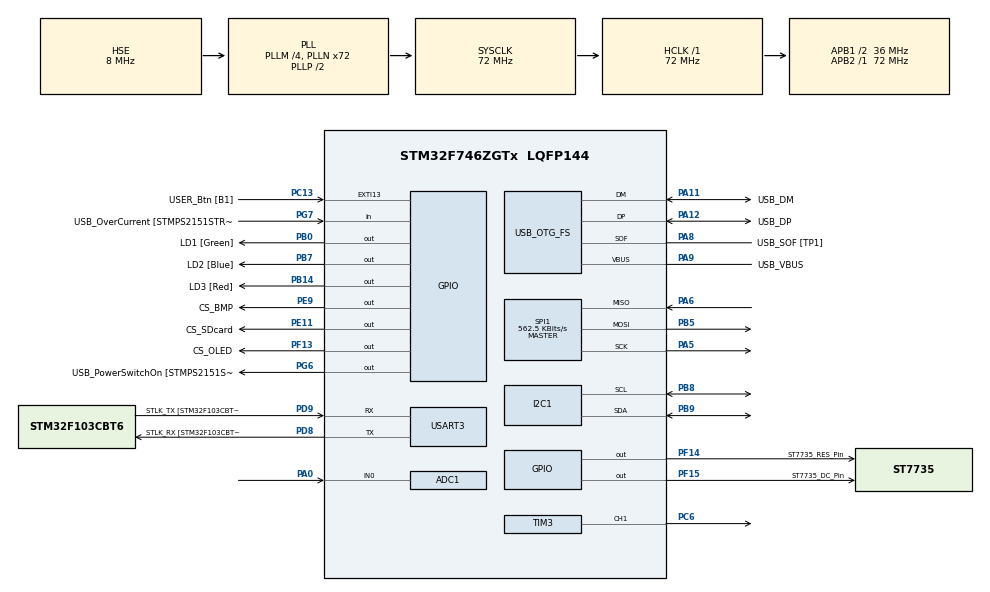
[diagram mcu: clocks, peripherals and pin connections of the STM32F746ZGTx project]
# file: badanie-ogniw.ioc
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ADC1.Channel-0\#ChannelRegularConversion=ADC_CHANNEL_0
ADC1.NbrOfConversionFlag=1
ADC1.Rank-0\#ChannelRegularConversion=1
ADC1.SamplingTime-0\#ChannelRegularConversion=ADC_SAMPLETIME_3CYCLES
ADC1.master=1
FATFS._MAX_SS=4096
FATFS._MIN_SS=512
FATFS._USE_LFN=1
I2C1.Timing=0x00808CD2
Mcu.Family=STM32F7
Mcu.Name=STM32F746ZGTx
Mcu.Package=LQFP144
NVIC.PriorityGroup=NVIC_PRIORITYGROUP_4
NVIC.TIM7_IRQn=true\:0\:0\:false\:false\:true\:true\:true\:true
PA0/WKUP.Signal=ADCx_IN0
PA1.GPIO_Label=RMII_REF_CLK [LAN8742A-CZ-TR_REFCLK0]
PA1.Signal=ETH_REF_CLK
PA10.GPIO_Label=USB_ID
PA10.Signal=USB_OTG_FS_ID
PA11.GPIO_Label=USB_DM
PA11.Mode=Device_Only
PA11.Signal=USB_OTG_FS_DM
PA12.GPIO_Label=USB_DP
PA12.Mode=Device_Only
PA12.Signal=USB_OTG_FS_DP
PA13.GPIO_Label=TMS
PA13.Mode=Serial_Wire
PA13.Signal=SYS_JTMS-SWDIO
PA14.GPIO_Label=TCK
PA14.Mode=Serial_Wire
PA14.Signal=SYS_JTCK-SWCLK
PA2.GPIO_Label=RMII_MDIO [LAN8742A-CZ-TR_MDIO]
PA2.Signal=ETH_MDIO
PA5.Mode=Full_Duplex_Master
PA5.Signal=SPI1_SCK
PA6.Mode=Full_Duplex_Master
PA6.Signal=SPI1_MISO
PA7.GPIO_Label=RMII_CRS_DV [LAN8742A-CZ-TR_CRS_DV]
PA7.Signal=ETH_CRS_DV
PA8.GPIO_Label=USB_SOF [TP1]
PA8.Mode=Activate_SOF_FS
PA8.Signal=USB_OTG_FS_SOF
PA9.GPIO_Label=USB_VBUS
PA9.Mode=Activate_VBUS
PA9.Signal=USB_OTG_FS_VBUS
PB0.GPIO_Label=LD1 [Green]
PB0.Signal=GPIO_Output
PB13.GPIO_Label=RMII_TXD1 [LAN8742A-CZ-TR_TXD1]
PB13.Signal=ETH_TXD1
PB14.GPIO_Label=LD3 [Red]
PB14.Signal=GPIO_Output
PB3.GPIO_Label=SW0
PB3.Signal=SYS_JTDO-SWO
PB5.Mode=Full_Duplex_Master
PB5.Signal=SPI1_MOSI
PB7.GPIO_Label=LD2 [Blue]
PB7.Signal=GPIO_Output
PB8.Mode=I2C
PB8.Signal=I2C1_SCL
PB9.Mode=I2C
PB9.Signal=I2C1_SDA
PC1.GPIO_Label=RMII_MDC [LAN8742A-CZ-TR_MDC]
PC1.Signal=ETH_MDC
PC13.GPIO_Label=USER_Btn [B1]
PC13.Signal=GPXTI13
PC14/OSC32_IN.Mode=LSE-External-Oscillator
PC14/OSC32_IN.Signal=RCC_OSC32_IN
PC15/OSC32_OUT.Mode=LSE-External-Oscillator
PC15/OSC32_OUT.Signal=RCC_OSC32_OUT
PC4.GPIO_Label=RMII_RXD0 [LAN8742A-CZ-TR_RXD0]
PC4.Signal=ETH_RXD0
PC5.GPIO_Label=RMII_RXD1 [LAN8742A-CZ-TR_RXD1]
PC5.Signal=ETH_RXD1
PC6.Signal=S_TIM3_CH1
PD8.GPIO_Label=STLK_RX [STM32F103CBT6_PA3]
PD8.GPIO_PuPd=GPIO_PULLUP
PD8.Mode=Asynchronous
PD8.Signal=USART3_TX
PD9.GPIO_Label=STLK_TX [STM32F103CBT6_PA2]
PD9.GPIO_PuPd=GPIO_PULLUP
PD9.Mode=Asynchronous
PD9.Signal=USART3_RX
PE11.GPIO_Label=CS_SDcard
PE11.Signal=GPIO_Output
PE9.GPIO_Label=CS_BMP
PE9.Signal=GPIO_Output
PF13.GPIO_Label=CS_OLED
PF13.Signal=GPIO_Output
PF14.GPIO_Label=ST7735_RES_Pin
PF14.Signal=GPIO_Output
PF15.GPIO_Label=ST7735_DC_Pin
PF15.Signal=GPIO_Output
PG11.GPIO_Label=RMII_TX_EN [LAN8742A-CZ-TR_TXEN]
PG11.Signal=ETH_TX_EN
PG13.GPIO_Label=RMII_TXD0 [LAN8742A-CZ-TR_TXD0]
PG13.Signal=ETH_TXD0
PG6.GPIO_Label=USB_PowerSwitchOn [STMPS2151STR_EN]
PG6.Signal=GPIO_Output
PG7.GPIO_Label=USB_OverCurrent [STMPS2151STR_FAULT]
PG7.Signal=GPIO_Input
PH0/OSC_IN.GPIO_Label=MCO [STM32F103CBT6_PA8]
PH0/OSC_IN.Mode=HSE-External-Oscillator
PH0/OSC_IN.Signal=RCC_OSC_IN
PH1/OSC_OUT.Mode=HSE-External-Oscillator
PH1/OSC_OUT.Signal=RCC_OSC_OUT
ProjectManager.HeapSize=0x200
ProjectManager.StackSize=0x400
ProjectManager.TargetToolchain=STM32CubeIDE
RCC.48MHZClocksFreq_Value=24000000
RCC.AHBFreq_Value=72000000
RCC.APB1CLKDivider=RCC_HCLK_DIV2
RCC.APB1Freq_Value=36000000
RCC.APB1TimFreq_Value=72000000
RCC.APB2Freq_Value=72000000
RCC.APB2TimFreq_Value=72000000
RCC.CortexFreq_Value=72000000
RCC.HCLKFreq_Value=72000000
RCC.HSE_VALUE=8000000
RCC.HSI_VALUE=16000000
RCC.PLLM=4
RCC.PLLMUL=RCC_PLL_MUL9
RCC.PLLN=72
RCC.PLLQ=3
RCC.PRESCALERUSB=RCC_USBCLKSOURCE_PLL_DIV1_5
RCC.SYSCLKFreq_VALUE=72000000
RCC.SYSCLKSource=RCC_SYSCLKSOURCE_PLLCLK
RCC.SYSCLKSourceVirtual=RCC_SYSCLKSOURCE_PLLCLK
RCC.USBFreq_Value=48000000
RCC.VCOOutputFreq_Value=144000000
SH.ADCx_IN0.0=ADC1_IN0,IN0
SH.S_TIM3_CH1.0=TIM3_CH1,PWM Generation1 CH1
SPI1.BaudRatePrescaler=SPI_BAUDRATEPRESCALER_128
SPI1.CLKPhase=SPI_PHASE_1EDGE
SPI1.CLKPolarity=SPI_POLARITY_LOW
SPI1.CalculateBaudRate=562.5 KBits/s
SPI1.DataSize=SPI_DATASIZE_8BIT
SPI1.Direction=SPI_DIRECTION_2LINES
SPI1.Mode=SPI_MODE_MASTER
SPI1.VirtualType=VM_MASTER
TIM3.Channel-PWM\ Generation1\ CH1=TIM_CHANNEL_1
TIM3.Period=999
TIM3.Prescaler=71
TIM7.Period=9999
TIM7.Prescaler=7199
USART3.VirtualMode-Asynchronous=VM_ASYNC
USB_OTG_FS.VirtualMode=Device_Only
VP_FATFS_VS_Generic.Mode=User_defined
VP_TIM3_VS_ClockSourceINT.Mode=Internal
VP_TIM7_VS_ClockSourceINT.Mode=Enable_Timer
board=NUCLEO-F746ZG

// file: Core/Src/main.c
/* USER CODE BEGIN Header */
/**
  ******************************************************************************
  * @file           : main.c
  * @brief          : Main program body
  ******************************************************************************
  * @attention
  *
  * Copyright (c) 2025 STMicroelectronics.
  * All rights reserved.
  *
  * This software is licensed under terms that can be found in the LICENSE file
  * in the root directory of this software component.
  * If no LICENSE file comes with this software, it is provided AS-IS.
  *
  ******************************************************************************
  */

/*
 * 	PINOUT SPI1
 * 	MISO	PA6
 * 	MOSI 	PB5
 * 	CLK  	PA5
 *
 * 	OLED +3.3V
 *	--CS	PF13
 *	--RST	PF14
 *	--DC	PF15
 *	BME	+3.3V
 *	--CS	PE9
 *	SD card	+3.3V
 *	--CS	PE11
 *
 *	PINOUT I2C
 *	SCL PB8
 *	SDA PB9
 *	SGP30 0x58
 *	INA219 0x40
 */
/* USER CODE END Header */
#include "main.h"
#include "adc.h"
#include "fatfs.h"
#include "i2c.h"
#include "spi.h"
#include "tim.h"
#include "usart.h"
#include "usb_otg.h"
#include "gpio.h"

/* USER CODE BEGIN Includes */
#include "st7735.h"
#include "fonts.h"
#include "testimg.h"
#include "BMPXX80.h"
#include "fatfs_sd.h"
#include "sensirion_common.h"
#include "sgp30.h"
#include "INA219.h"

/* USER CODE END Includes */

/* USER CODE BEGIN PV */
uint8_t isProgramStarted = 0;
uint8_t _interruptFlag = 0;

uint16_t adcPosition = 0;

struct sensors s = {0};
INA219_t myina219;

FATFS fs;
FIL fil;

/* USER CODE END PV */

void SystemClock_Config(void);
/* USER CODE BEGIN PFP */
void SDcardInit(char* folder_name);
void SDcardWriteData(struct sensors *s);
void SDcardClose(void);
void OLEDdisplay(struct sensors *s);
/* USER CODE END PFP */

/* USER CODE BEGIN 0 */
void SDcardInit(char* folder_name) {
    FRESULT res;
    uint8_t retry_count = 5;

    while (retry_count--) {
        res = f_mount(&fs, "", 1);
        if (res == FR_OK) {
            break;
        }
        printf("Error mounting filesystem! (%d). Retrying...\r\n", res);
     	  ST7735_WriteString(10, 140, "Error in file!", Font_7x10, ST7735_RED, ST7735_BLACK);
        HAL_Delay(RETRY_DELAY_MS);
    }

    retry_count = 5;
    while (retry_count--) {
        res = f_open(&fil, "test.txt", FA_OPEN_ALWAYS | FA_WRITE);
        if (res == FR_OK) {
            break;
        }
        printf("Error opening SDcard file! (%d). Retrying...\r\n", res);
     	  ST7735_WriteString(10, 140, "Error in file!", Font_7x10, ST7735_RED, ST7735_BLACK);
        HAL_Delay(RETRY_DELAY_MS);
    }

    res = f_lseek(&fil, f_size(&fil));
    if (res != FR_OK) {
        printf("Error seeking to end of file! (%d)\r\n", res);
        f_close(&fil);
        return;
    }

    f_puts("\n--- Nowy pomiar ---\n", &fil);
    f_puts("TVOC_ppb,CO2_eq_ppm,Ethanol_signal,H2_signal,Temperatura,Cisnienie,Napiecie_mV,Prad_mA,Moc_mW\n", &fil);

    f_sync(&fil);

}

void SDcardWriteData(struct sensors *s) {
	// ERROR SDcard -> OLED
	if (f_lseek(&fil, f_size(&fil)) != FR_OK) {
  	 printf("Error seeking in file!\r\n");
  	 ST7735_WriteString(10, 140, "Error in file!", Font_7x10, ST7735_RED, ST7735_BLACK);
  	 return;
	}

	char buffer[200];
	snprintf(buffer, sizeof(buffer), "%u,%u,%.2f,%.2f,%.2f,%ld,%u,%d,%u\n",
			s->tvoc_ppb, s->co2_eq_ppm, s->scaled_ethanol_signal/512.0f, s->scaled_h2_signal/512.0f, s->BMP280temperature, s->BMP280pressure,s->INA219_Voltage, s->INA219_Current, s->INA219_Power);

	if (f_puts(buffer, &fil) < 0) {
  	 printf("Error writing to file!\r\n");
	}

	if (f_sync(&fil) != FR_OK) {
		printf("Error syncing file!\r\n");
	}
	f_sync(&fil);
}

void SDcardClose(void) {
    if (f_close(&fil) != FR_OK) {
        printf("Error closing file!\r\n");
    }
}

void OLEDdisplay(struct sensors *s) {
    char buffer[100];
    int tempInt = (int)(s->BMP280temperature * 100);
    int tempFrac = tempInt % 100;

    // Temperatura
    snprintf(buffer, sizeof(buffer), "Temp: %d.%02d C", tempInt / 100, tempFrac);
    ST7735_WriteString(5,  5, buffer, Font_7x10, ST7735_WHITE, ST7735_BLACK);

    // Ciśnienie
    snprintf(buffer, sizeof(buffer), "Prs:  %ld Pa", s->BMP280pressure);
    ST7735_WriteString(5,  20, buffer, Font_7x10, ST7735_WHITE, ST7735_BLACK);

    // TVOC
    snprintf(buffer, sizeof(buffer), "TVOC: %4u ppb", s->tvoc_ppb);
    ST7735_WriteString(5,  35, buffer, Font_7x10, ST7735_WHITE, ST7735_BLACK);

    // CO2eq
    snprintf(buffer, sizeof(buffer), "CO2:  %4u ppm", s->co2_eq_ppm);
    ST7735_WriteString(5,  50, buffer, Font_7x10, ST7735_WHITE, ST7735_BLACK);

    // Etanol/512.0
    float ethanol = s->scaled_ethanol_signal / 512.0f;
    snprintf(buffer, sizeof(buffer), "EtOH: %.2f", ethanol);
    ST7735_WriteString(5,  65, buffer, Font_7x10, ST7735_WHITE, ST7735_BLACK);

    // H2/512.0
    float h2 = s->scaled_h2_signal / 512.0f;
    snprintf(buffer, sizeof(buffer), "H2:   %.2f", h2);
    ST7735_WriteString(5,  80, buffer, Font_7x10, ST7735_WHITE, ST7735_BLACK);

    // INA219_Current
    snprintf(buffer, sizeof(buffer), "Current:  %4d mA", s->INA219_Current);
    ST7735_WriteString(5,  95, buffer, Font_7x10, ST7735_WHITE, ST7735_BLACK);

    // INA219_Voltage
    snprintf(buffer, sizeof(buffer), "Voltage:  %4u mV", s->INA219_Voltage);
    ST7735_WriteString(5,  110, buffer, Font_7x10, ST7735_WHITE, ST7735_BLACK);

    // INA219_Power
    snprintf(buffer, sizeof(buffer), "Power:  %4u mW", s->INA219_Power);
    ST7735_WriteString(5,  125, buffer, Font_7x10, ST7735_WHITE, ST7735_BLACK);

}

/* USER CODE END 0 */

int main(void)
{

  /* MCU Configuration--------------------------------------------------------*/

  /* Reset of all peripherals, Initializes the Flash interface and the Systick. */
  HAL_Init();

  /* Configure the system clock */
  SystemClock_Config();

  /* Initialize all configured peripherals */
  MX_GPIO_Init();
  MX_I2C1_Init();
  MX_USART3_UART_Init();
  MX_USB_OTG_FS_PCD_Init();
  MX_SPI1_Init();
  MX_FATFS_Init();
  MX_TIM7_Init();
  MX_ADC1_Init();
  MX_TIM3_Init();
  /* USER CODE BEGIN 2 */
  HAL_TIM_Base_Start_IT(&htim7);
  HAL_TIM_PWM_Start(&htim3, TIM_CHANNEL_1);
  // OLED
  ST7735_Init();
  ST7735_FillScreen(ST7735_BLACK);

  // BMP
  BMP280_Init(&hspi1, BMP280_TEMPERATURE_16BIT, BMP280_STANDARD, BMP280_FORCEDMODE);
  // SGP
	if (sgp_probe() != STATUS_OK) {
		printf("SGP sensor error\r\n");
	}
	// INA
	INA219_Init(&myina219, &hi2c1, INA219_ADDRESS);
	//INA219_setCalibration_32V_2A(&myina219);

	// SD
	SDcardInit("test.txt");
	isProgramStarted = 1;
  /* USER CODE END 2 */

  /* Infinite loop */
  while (1)
  {

    /* USER CODE BEGIN 3 */

  	// stele probkowanie
  	if (_interruptFlag == 1){

    	// ADC
    	HAL_ADC_Start(&hadc1);
    	HAL_ADC_PollForConversion(&hadc1, 1);
    	adcPosition = HAL_ADC_GetValue(&hadc1) ;
    	printf("ADC: %.2f%%\r\n", (adcPosition / 4095.0f)*100);

    	__HAL_TIM_SET_COMPARE(&htim3, TIM_CHANNEL_1, (adcPosition / 4095.0f)*1000);

  		// BMP
			BMP280_ReadTemperatureAndPressure(&s.BMP280temperature, &s.BMP280pressure);

			// SGP
			sgp_measure_iaq_blocking_read(&s.tvoc_ppb, &s.co2_eq_ppm);
			sgp_measure_signals_blocking_read(&s.scaled_ethanol_signal, &s.scaled_h2_signal);
			//sgp_set_absolute_humidity()

			// INA219
			s.INA219_Current = INA219_ReadCurrent_raw(&myina219);
			s.INA219_Voltage = INA219_ReadBusVoltage(&myina219);
			s.INA219_Power = INA219_ReadPower(&myina219);

			// SD
			SDcardWriteData(&s);

			// OLED
			OLEDdisplay(&s);

			printf("{%u,%u,%.2f,%.2f,%.2f,%ld,%u,%d,%u}\r\n",
					s.tvoc_ppb, s.co2_eq_ppm, s.scaled_ethanol_signal/512.0f, s.scaled_h2_signal/512.0f, s.BMP280temperature, s.BMP280pressure, s.INA219_Voltage, s.INA219_Current, s.INA219_Power);

			_interruptFlag = 0;
  	}
  }
  /* USER CODE END 3 */
}

void SystemClock_Config(void)
{
  RCC_OscInitTypeDef RCC_OscInitStruct = {0};
  RCC_ClkInitTypeDef RCC_ClkInitStruct = {0};

  /** Configure LSE Drive Capability
  */
  HAL_PWR_EnableBkUpAccess();

  /** Configure the main internal regulator output voltage
  */
  __HAL_RCC_PWR_CLK_ENABLE();
  __HAL_PWR_VOLTAGESCALING_CONFIG(PWR_REGULATOR_VOLTAGE_SCALE3);

  /** Initializes the RCC Oscillators according to the specified parameters
  * in the RCC_OscInitTypeDef structure.
  */
  RCC_OscInitStruct.OscillatorType = RCC_OSCILLATORTYPE_HSE;
  RCC_OscInitStruct.HSEState = RCC_HSE_ON;
  RCC_OscInitStruct.PLL.PLLState = RCC_PLL_ON;
  RCC_OscInitStruct.PLL.PLLSource = RCC_PLLSOURCE_HSE;
  RCC_OscInitStruct.PLL.PLLM = 4;
  RCC_OscInitStruct.PLL.PLLN = 72;
  RCC_OscInitStruct.PLL.PLLP = RCC_PLLP_DIV2;
  RCC_OscInitStruct.PLL.PLLQ = 3;
  if (HAL_RCC_OscConfig(&RCC_OscInitStruct) != HAL_OK)
  {
    Error_Handler();
  }

  /** Initializes the CPU, AHB and APB buses clocks
  */
  RCC_ClkInitStruct.ClockType = RCC_CLOCKTYPE_HCLK|RCC_CLOCKTYPE_SYSCLK
                              |RCC_CLOCKTYPE_PCLK1|RCC_CLOCKTYPE_PCLK2;
  RCC_ClkInitStruct.SYSCLKSource = RCC_SYSCLKSOURCE_PLLCLK;
  RCC_ClkInitStruct.AHBCLKDivider = RCC_SYSCLK_DIV1;
  RCC_ClkInitStruct.APB1CLKDivider = RCC_HCLK_DIV2;
  RCC_ClkInitStruct.APB2CLKDivider = RCC_HCLK_DIV1;

  if (HAL_RCC_ClockConfig(&RCC_ClkInitStruct, FLASH_LATENCY_2) != HAL_OK)
  {
    Error_Handler();
  }
}

/* USER CODE BEGIN 4 */

void HAL_TIM_PeriodElapsedCallback(TIM_HandleTypeDef *htim){
  if (htim == &htim7 && isProgramStarted == 1){
  	if (_interruptFlag == 1){
  		printf("Flaga _interruptFlag jest juz 1");
  	}
  	_interruptFlag = 1;
  }
}

/* USER CODE END 4 */

void Error_Handler(void)
{
  __disable_irq();
  while (1)
  {
  }
}
